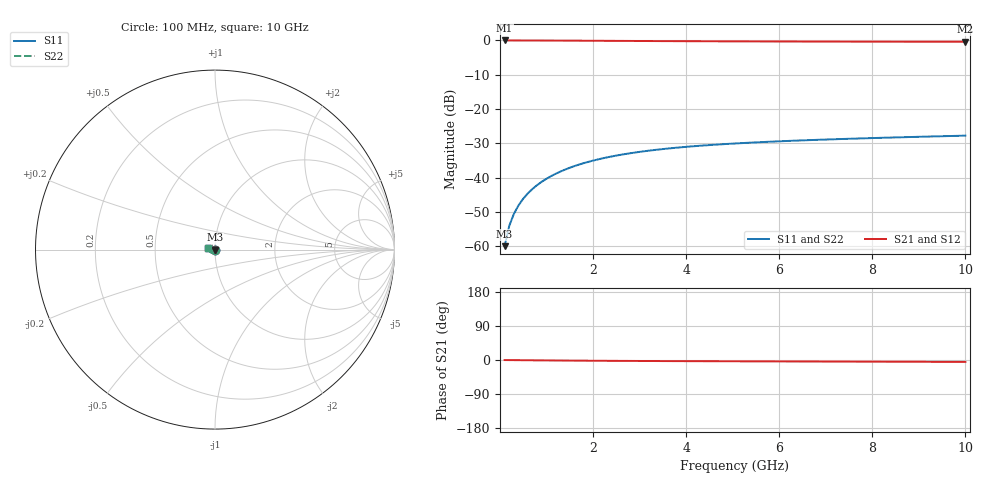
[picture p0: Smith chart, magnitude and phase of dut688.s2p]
! Touchstone file exported from HFSS 2024.1.0
!  File:  C:/UserFiles/LocalFiles/RDL_TSV_Batchsim/temp_TSV1_688_1779795932.aedt
!  Generated:  07:50:42 PM May 26, 2026
!  Design:  TSV1
!  Project:  temp_TSV1_688_1779795932
!  Setup:  Setup1
!  Solution:  Sweep
! Variables:
!  dtsv = 8.5um
!  hbump = 3um
!  htsv = 77.95um
!  lrdl = 252.1521522um
!  p = 40
!  p1 = 48.08um
!  t = 500um
!  trdl = 3um
!  wrdl = 24.89489489um
# GHz S MA R 50.000000
! Terminal data exported
! Port[1] = TSV22_T1
! Port[2] = TSV22_T2
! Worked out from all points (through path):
!   100 points, 100 MHz to 10 GHz, reference 50 ohm
!   highest |S21| = 0.00 dB at 100 MHz (marker M1); lowest = -0.4 dB at 10 GHz (marker M2)
!   lowest |S11| = -59.9 dB at 100 MHz (marker M3), VSWR 1.00, Z = 50 - j0.0994 ohm
!   |S11| at or under -10 dB: start of sweep to end of sweep
!   |S22| runs from -59.9 to -27.7 dB; largest |S21 - S12| = 6e-15
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0.1  0.001008 -80.5  0.9998 -0.1  0.9998 -0.1  0.001008 -80.5
! Gamma 0 0 0 0
! Port Impedance 50 0 50 0
0.2  0.001994 -87.7  0.9997 -0.2  0.9997 -0.2  0.001994 -87.7
0.3  0.002986 -91.4  0.9995 -0.3  0.9995 -0.3  0.002986 -91.4
0.4  0.003974 -94.2  0.9992 -0.4  0.9992 -0.4  0.003974 -94.2
0.5  0.004954 -96.6  0.999 -0.6  0.999 -0.6  0.004954 -96.6
0.6  0.005925 -98.9  0.9986 -0.7  0.9986 -0.7  0.005925 -98.9
0.7  0.006884 -100.9  0.9982 -0.8  0.9982 -0.8  0.006884 -100.9
0.8  0.00783 -102.9  0.9978 -0.9  0.9978 -0.9  0.00783 -102.9
0.9  0.008761 -104.9  0.9973 -1.0  0.9973 -1.0  0.008761 -104.9
1.1  0.01058 -108.6  0.9961 -1.2  0.9961 -1.2  0.01058 -108.6
1.4  0.01316 -113.9  0.9942 -1.5  0.9942 -1.5  0.01316 -113.9
1.6  0.01478 -117.2  0.9927 -1.6  0.9927 -1.6  0.01478 -117.2
1.8  0.01632 -120.4  0.9912 -1.8  0.9912 -1.8  0.01632 -120.4
2.1  0.01846 -125.0  0.9889 -2.0  0.9889 -2.0  0.01847 -125.0
2.5  0.02104 -130.8  0.9857 -2.3  0.9857 -2.3  0.02104 -130.8
2.9  0.02329 -136.1  0.9826 -2.5  0.9826 -2.5  0.02329 -136.1
3.4  0.02573 -142.1  0.9791 -2.8  0.9791 -2.8  0.02573 -142.1
4.2  0.02891 -150.6  0.9741 -3.1  0.9741 -3.1  0.02891 -150.6
5.1  0.0317 -158.8  0.9695 -3.4  0.9695 -3.4  0.0317 -158.8
6.7  0.03544 -170.8  0.9637 -4.0  0.9637 -4.0  0.03544 -170.8
8.4  0.03851 179.0  0.9595 -4.5  0.9595 -4.5  0.03851 179.0
10  0.04104 170.9  0.9568 -5.0  0.9568 -5.0  0.04104 170.9
